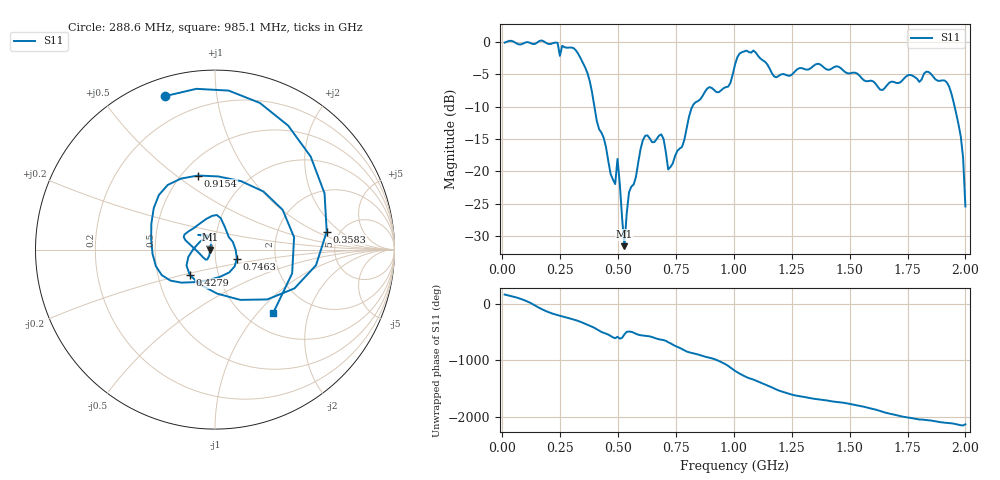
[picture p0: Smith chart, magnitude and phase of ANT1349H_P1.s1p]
!Created with skrf (http://scikit-rf.org).
# Hz S RI R 50.0
!freq ReS11 ImS11
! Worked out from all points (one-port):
!   201 points, 10 MHz to 2 GHz, reference 50 ohm
!   lowest |S11| = -31.5 dB at 527.4 MHz (marker M1), VSWR 1.05, Z = 47.4 - j0.0703 ohm
!   |S11| at or under -10 dB: 397.7 MHz to 821.2 MHz (423.5 MHz wide, 69.5 % of centre); 1.953 GHz to end of sweep
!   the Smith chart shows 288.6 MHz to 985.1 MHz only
!   S11 on the Smith chart (normalised r, x): 288.6 MHz: 0.08, +0.72; 358.2 MHz: 3.95, +1.32; 427.9 MHz: 0.73, -0.21; 746.3 MHz: 1.27, -0.13; 915.5 MHz: 0.60, +0.60; 985.1 MHz: 1.32, -1.22
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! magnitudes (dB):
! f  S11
! 10 MHz  -0.2
! 258.8 MHz  -0.6
! 288.6 MHz  -0.9
! 358.2 MHz  -4.0
! 427.9 MHz  -14.0
! 487.6 MHz  -21.9
! 497.6 MHz  -18.1
! 507.5 MHz  -21.9
! 527.4 MHz  -31.5
! 547.3 MHz  -23.2
! 617 MHz  -14.5
! 686.6 MHz  -14.3
! 716.5 MHz  -19.7
! 746.3 MHz  -17.6
! 756.2 MHz  -16.8
! 825.9 MHz  -9.7
! 915.5 MHz  -7.5
! 985.1 MHz  -6.4
! 1.005 GHz  -3.6
! 1.085 GHz  -1.4
! 1.254 GHz  -5.0
! 1.502 GHz  -4.9
! 1.642 GHz  -7.5
! 1.751 GHz  -5.2
! 1.93 GHz  -7.0
! 1.98 GHz  -14.6
! 1.99 GHz  -17.9
! 2 GHz  -25.4
